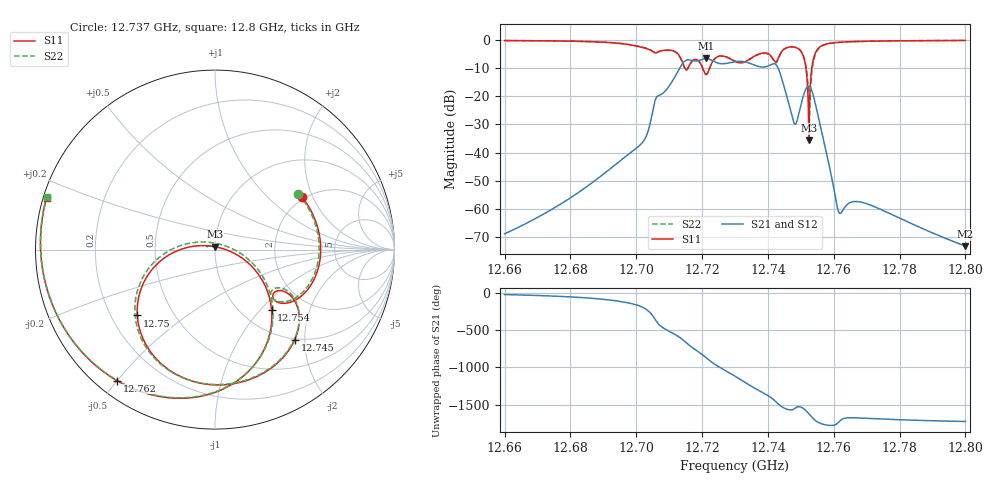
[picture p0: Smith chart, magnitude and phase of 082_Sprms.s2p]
! TOUCHSTONE file generated by CST MICROWAVE STUDIO
! Date and time: Wed Jul 31 14:51:52 2024
! Project name: WaveGuide_BPF-Ver4.1_U-shape_Ku_T3_C4_CWA_2.cst
! Parameters = {cavity_h=16; cavity_l0=10; cavity_l1=15.2049; cavity_l2=16.8635; cavity_l3=17.0988; cavity_l4=17.2505; cavity_l5=17.1494; cavity_l6=17.611; cavity_r=2.5; cavity_screw_l=0.5; cavity_screw_r=1.5; cavity_w=8; iris_h00=0; iris_h01=8.8206; iris_h112=0; iris_h12=5.6133; iris_h211=3.659; ir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
! Header version: 2018
! Port assignment regex: !\s*Touchstone port\s*([0-9]+)\s*=\s*(CST MWS port|CST DS port)\s*([0-9]+|Zmin|Zmax)\s*\(\"(.*)\"\)(\s*mode\s*([0-9]+))?.*
! Touchstone port assignment:
! Touchstone port 1 = CST MWS port 1 ("")
! Touchstone port 2 = CST MWS port 2 ("")
# GHz S RI R 50
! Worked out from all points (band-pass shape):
!   5001 points, 12.66 GHz to 12.8 GHz, reference 50 ohm
!   highest |S21| = -6.56 dB at 12.721 GHz (marker M1); lowest = -73.3 dB at 12.8 GHz (marker M2)
!   |S21| within 3 dB of the highest: 12.7134 GHz to 12.7378 GHz (24.4 MHz wide, 0.192 % of centre); 12.73917 GHz to 12.74293 GHz (3.758 MHz wide, 0.0295 % of centre)
!   lowest |S11| = -35.6 dB at 12.752 GHz (marker M3), VSWR 1.03, Z = 49.8 + j1.64 ohm
!   |S11| at or under -10 dB: 12.71478 GHz to 12.71562 GHz (849.3 kHz wide, 0.00668 % of centre); 12.72019 GHz to 12.72227 GHz (2.083 MHz wide, 0.0164 % of centre); 12.75154 GHz to 12.75332 GHz (1.78 MHz wide, 0.014 % of centre)
!   |S22| runs from -29.0 to -0.2 dB; largest |S21 - S12| = 1e-09
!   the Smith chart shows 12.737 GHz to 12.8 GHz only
!   S11 on the Smith chart (normalised r, x): 12.737 GHz: 1.95, +1.67; 12.745 GHz: 0.98, -1.79; 12.75 GHz: 0.31, -0.34; 12.754 GHz: 1.35, -1.16; 12.762 GHz: 0.06, -0.50; 12.8 GHz: 0.01, +0.15
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12.66  0.3769 0.903  0.00032 -0.000164  0.00032 -0.000164  0.3801 0.9018
12.68335  0.8252 0.4607  0.000818 -0.00196  0.000818 -0.00196  0.825 0.4627
12.69408  0.8497 -0.2275  -0.00245 -0.0059  -0.00245 -0.0059  0.8576 -0.2116
12.70057  0.2075 -0.7404  -0.0126 -0.00158  -0.0126 -0.00158  0.2576 -0.7346
12.70668  -0.6108 -0.0795  0.0558 -0.0858  0.0558 -0.0858  -0.5984 -0.1559
12.71093  -0.157 0.6312  -0.1845 -9.71e-05  -0.1845 -9.71e-05  -0.217 0.6046
12.71673  0.1909 0.36  0.4324 -0.0409  0.4324 -0.0409  0.1593 0.3673
12.72121  0.2235 0.0988  -0.4117 -0.2268  -0.4117 -0.2268  0.2173 0.1093
12.72488  0.5074 -0.0459  -0.0164 0.3873  -0.0164 0.3873  0.5093 -0.024
12.73  -0.2458 -0.3372  0.3224 -0.2566  0.3224 -0.2566  -0.2219 -0.3613
12.73739  0.4866 0.2911  -0.2019 0.2689  -0.2019 0.2689  0.4631 0.3118
12.74173  0.3401 -0.2886  0.3748 0.0546  0.3748 0.0546  0.3297 -0.2796
12.74464  0.4445 -0.5013  -0.0236 -0.1668  -0.0236 -0.1668  0.4472 -0.4887
12.74812  -0.1143 -0.7362  -0.0122 -0.0299  -0.0122 -0.0299  -0.1154 -0.7355
12.75047  -0.4328 -0.3666  -0.0169 -0.0863  -0.0169 -0.0863  -0.4441 -0.3776
12.75243  -0.00185 0.0164  -0.1519 0.00419  -0.1519 0.00419  -0.0572 0.0421
12.75335  0.2697 -0.1823  -0.0831 0.0929  -0.0831 0.0929  0.2451 -0.1184
12.75383  0.3153 -0.337  -0.0359 0.0945  -0.0359 0.0945  0.3141 -0.2723
12.76178  -0.5467 -0.7296  0.000146 0.000818  0.000146 0.000818  -0.5407 -0.7314
12.77668  -0.9447 -0.1875  -0.000217 0.000815  -0.000217 0.000815  -0.9453 -0.1836
12.79994  -0.9383 0.2895  5.36e-05 0.000211  5.36e-05 0.000211  -0.9367 0.2947
12.8  -0.9381 0.2902  5.36e-05 0.00021  5.36e-05 0.00021  -0.9365 0.2954
